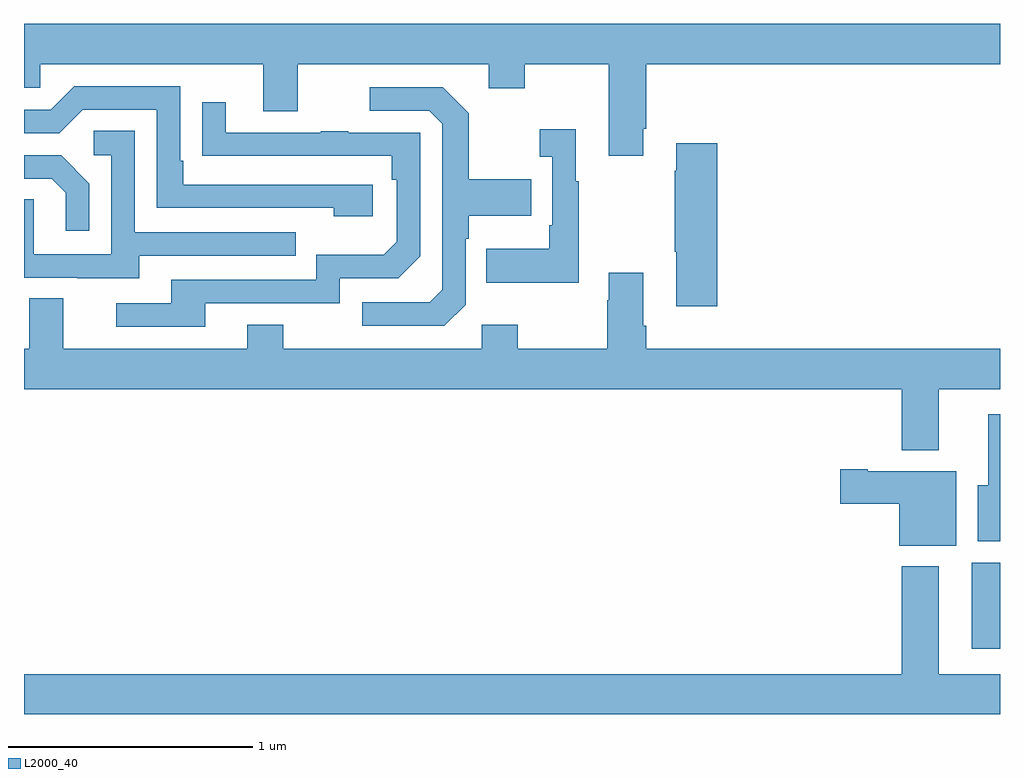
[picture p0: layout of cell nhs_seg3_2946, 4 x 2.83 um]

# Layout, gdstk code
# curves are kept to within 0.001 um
import gdstk
lib = gdstk.Library(unit=1e-6, precision=1e-09)
def R(c, l, rs):  # rectangles x0, y0, x1, y1
    for r in rs: c.add(gdstk.rectangle(r[:2], r[2:], *l))
def P(c, l, *ps):  # polygons
    for p in ps: c.add(gdstk.Polygon(p, *l))
L2000_40 = (2000, 40)

nhs_seg3_2946 = lib.new_cell('nhs_seg3_2946')
R(nhs_seg3_2946, L2000_40, [(266.885,741.144,267,741.496)])
P(nhs_seg3_2946, L2000_40, [(265.537,743.275),(265.55,743.275),(265.55,743.54),(267,743.54),(267,743.704),(263,743.704),(263,743.442),(263.067,743.442),(263.067,743.54),(263.981,743.54),(263.981,743.346),(264.121,743.346),(264.121,743.54),(264.905,743.54),(264.905,743.441),(265.053,743.441),(265.053,743.54),(265.397,743.54),(265.397,743.163),(265.537,743.163)],
  [(264.43,743.046),(263.653,743.046),(263.653,743.143),(263.64,743.143),(263.64,743.448),(263.205,743.448),(263.109,743.352),(263,743.352),(263,743.256),(263.145,743.256),(263.241,743.352),(263.544,743.352),(263.544,742.95),(264.269,742.95),(264.269,742.916),(264.43,742.916)],
  [(264.81,742.554),(264.81,742.823),(264.823,742.823),(264.823,742.919),(265.079,742.919),(265.079,743.067),(264.823,743.067),(264.823,743.339),(264.717,743.445),(264.417,743.445),(264.417,743.349),(264.66,743.349),(264.714,743.295),(264.714,742.614),(264.663,742.563),(264.387,742.563),(264.387,742.467),(264.723,742.467)],
  [(263.743,742.56),(264.294,742.56),(264.294,742.662),(264.534,742.662),(264.624,742.752),(264.624,743.259),(264.329,743.259),(264.329,743.264),(264.217,743.264),(264.217,743.259),(263.827,743.259),(263.827,743.383),(263.731,743.383),(263.731,743.164),(264.508,743.163),(264.508,743.066),(264.528,743.066),(264.528,742.812),(264.475,742.759),(264.198,742.759),(264.198,742.656),(263.603,742.656),(263.603,742.56),(263.379,742.56),(263.379,742.464),(263.743,742.464)],
  [(265.273,743.059),(265.261,743.059),(265.261,743.272),(265.113,743.272),(265.113,743.159),(265.164,743.159),(265.164,742.879),(265.152,742.879),(265.152,742.783),(264.895,742.783),(264.895,742.643),(265.273,742.643)],
  [(263.473,742.755),(264.113,742.755),(264.113,742.851),(263.454,742.851),(263.454,743.267),(263.286,743.267),(263.286,743.166),(263.358,743.166),(263.358,742.761),(263.04,742.761),(263.04,742.985),(263,742.985),(263,742.665),(263.219,742.665),(263.219,742.661),(263.473,742.661)],
  [(265.841,743.215),(265.673,743.215),(265.673,743.102),(265.666,743.102),(265.666,742.771),(265.673,742.771),(265.673,742.548),(265.841,742.548)],
  [(263.268,743.05),(263.152,743.166),(263,743.166),(263,743.07),(263.114,743.07),(263.171,743.013),(263.171,742.857),(263.268,742.857)],
  [(266.749,742.208),(267,742.208),(267,742.372),(265.55,742.372),(265.55,742.468),(265.537,742.468),(265.537,742.684),(265.397,742.684),(265.397,742.571),(265.39,742.571),(265.39,742.372),(265.023,742.372),(265.023,742.471),(264.876,742.471),(264.876,742.372),(264.063,742.372),(264.063,742.471),(263.915,742.471),(263.915,742.372),(263.161,742.372),(263.161,742.58),(263.021,742.58),(263.021,742.372),(263,742.372),(263,742.208),(266.597,742.208),(266.597,741.956),(266.749,741.956)],
  [(267,742.105),(266.951,742.105),(266.951,741.814),(266.909,741.814),(266.909,741.584),(267,741.584)],
  [(266.821,741.871),(266.458,741.871),(266.458,741.879),(266.346,741.879),(266.346,741.737),(266.588,741.737),(266.588,741.566),(266.821,741.566)],
  [(267,741.04),(266.749,741.04),(266.749,741.481),(266.597,741.481),(266.597,741.04),(263,741.04),(263,740.876),(267,740.876)])

lib.write_gds('nhs_seg3_2946.gds')
